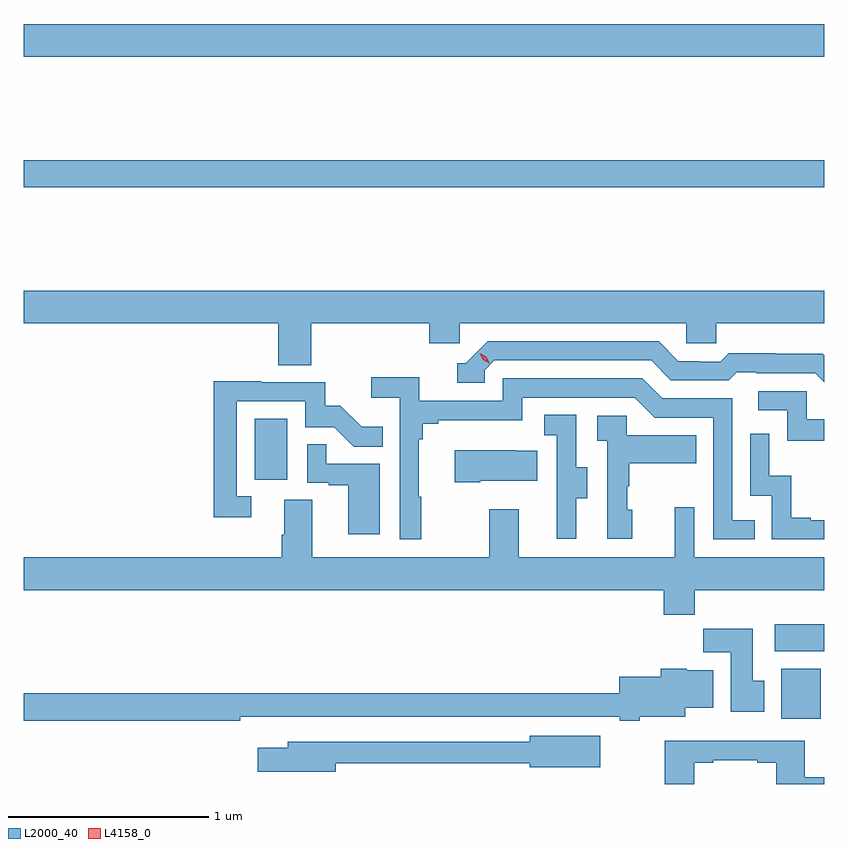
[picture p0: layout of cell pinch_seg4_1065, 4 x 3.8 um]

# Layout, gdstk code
import gdstk
lib = gdstk.Library(unit=1e-6, precision=1e-09)
def R(c, l, rs):  # rectangles x0, y0, x1, y1
    for r in rs: c.add(gdstk.rectangle(r[:2], r[2:], *l))
def P(c, l, *ps):  # polygons
    for p in ps: c.add(gdstk.Polygon(p, *l))
L2000_40 = (2000, 40)
L4158_0 = (4158, 0)

pinch_seg4_1065 = lib.new_cell('pinch_seg4_1065')
R(pinch_seg4_1065, L2000_40, [(833.729,765.54,833.925,765.79), (833.697,765.878,833.944,766.012), (831.098,766.734,831.262,767.041), (829.944,768.196,833.944,768.332), (829.944,768.848,833.944,769.012)])
P(pinch_seg4_1065, L2000_40, [(831.38,767.516),(831.971,767.516),(831.971,767.418),(832.122,767.418),(832.122,767.516),(833.253,767.516),(833.253,767.418),(833.403,767.418),(833.403,767.516),(833.944,767.516),(833.944,767.68),(829.944,767.68),(829.944,767.516),(831.215,767.516),(831.215,767.308),(831.38,767.308)],
  [(832.248,767.283),(832.296,767.331),(833.079,767.331),(833.178,767.232),(833.467,767.232),(833.506,767.271),(833.605,767.271),(833.605,767.268),(833.898,767.268),(833.944,767.222),(833.944,767.357),(833.936,767.365),(833.7,767.365),(833.7,767.368),(833.467,767.368),(833.425,767.325),(833.322,767.325),(833.322,767.328),(833.215,767.328),(833.116,767.427),(832.263,767.427),(832.152,767.316),(832.109,767.316),(832.109,767.22),(832.248,767.22)],
  [(831.931,766.649),(831.919,766.649),(831.919,766.937),(831.938,766.937),(831.938,767.014),(832.015,767.014),(832.015,767.033),(832.434,767.033),(832.434,767.145),(832.998,767.145),(833.097,767.046),(833.388,767.046),(833.388,766.437),(833.597,766.437),(833.597,766.533),(833.484,766.533),(833.484,767.142),(833.134,767.142),(833.035,767.241),(832.338,767.241),(832.338,767.13),(831.92,767.13),(831.92,767.246),(831.681,767.246),(831.681,767.144),(831.822,767.144),(831.822,766.437),(831.931,766.437)],
  [(831.082,766.653),(831.009,766.653),(831.009,767.127),(831.351,767.127),(831.351,766.998),(831.495,766.998),(831.593,766.9),(831.737,766.9),(831.737,766.999),(831.633,766.999),(831.526,767.106),(831.45,767.106),(831.45,767.223),(831.131,767.223),(831.131,767.228),(830.893,767.228),(830.893,766.548),(831.082,766.548)],
  [(833.944,767.037),(833.856,767.037),(833.856,767.178),(833.613,767.178),(833.613,767.082),(833.76,767.082),(833.76,766.929),(833.944,766.929)],
  [(832.705,766.642),(832.759,766.642),(832.759,766.797),(832.704,766.797),(832.704,767.06),(832.545,767.06),(832.545,766.957),(832.608,766.957),(832.608,766.653),(832.607,766.653),(832.607,766.44),(832.705,766.44)],
  [(832.984,766.584),(832.959,766.584),(832.959,766.703),(832.969,766.703),(832.969,766.817),(833.303,766.817),(833.303,766.957),(832.956,766.957),(832.956,767.055),(832.809,767.055),(832.809,766.931),(832.86,766.931),(832.86,766.44),(832.984,766.44)],
  [(833.944,766.533),(833.875,766.533),(833.875,766.546),(833.78,766.546),(833.78,766.754),(833.67,766.754),(833.67,766.966),(833.574,766.966),(833.574,766.656),(833.682,766.656),(833.682,766.437),(833.944,766.437)],
  [(831.724,766.815),(831.455,766.815),(831.455,766.913),(831.36,766.913),(831.36,766.719),(831.467,766.719),(831.467,766.707),(831.566,766.707),(831.566,766.464),(831.724,766.464)],
  [(832.225,766.73),(832.511,766.73),(832.511,766.879),(832.403,766.879),(832.403,766.882),(832.097,766.882),(832.097,766.723),(832.225,766.723)],
  [(833.297,766.184),(833.944,766.184),(833.944,766.348),(833.295,766.348),(833.295,766.597),(833.198,766.597),(833.198,766.348),(832.417,766.348),(832.417,766.588),(832.27,766.588),(832.27,766.348),(831.385,766.348),(831.385,766.634),(831.245,766.634),(831.245,766.46),(831.233,766.46),(831.233,766.348),(829.944,766.348),(829.944,766.184),(833.141,766.184),(833.141,766.06),(833.297,766.06)],
  [(833.644,765.732),(833.587,765.732),(833.587,765.991),(833.338,765.991),(833.338,765.872),(833.477,765.872),(833.477,765.576),(833.644,765.576)],
  [(831.026,765.552),(832.923,765.552),(832.923,765.532),(833.023,765.532),(833.023,765.551),(833.248,765.551),(833.248,765.596),(833.389,765.596),(833.389,765.784),(833.256,765.784),(833.256,765.79),(833.126,765.79),(833.126,765.751),(832.919,765.751),(832.919,765.668),(829.944,765.668),(829.944,765.532),(831.026,765.532)],
  [(831.502,765.318),(832.472,765.318),(832.472,765.299),(832.825,765.299),(832.825,765.457),(832.472,765.457),(832.472,765.426),(831.263,765.426),(831.263,765.397),(831.114,765.397),(831.114,765.275),(831.502,765.275)],
  [(833.293,765.321),(833.389,765.321),(833.389,765.333),(833.609,765.333),(833.609,765.321),(833.705,765.321),(833.705,765.215),(833.944,765.215),(833.944,765.249),(833.845,765.249),(833.845,765.43),(833.146,765.43),(833.146,765.215),(833.293,765.215)])
P(pinch_seg4_1065, L4158_0, [(832.271,767.316),(832.24,767.335),(832.223,767.368),(832.223,767.368),(832.223,767.368),(832.254,767.349),(832.271,767.316),(832.271,767.316)])

lib.write_gds('pinch_seg4_1065.gds')
